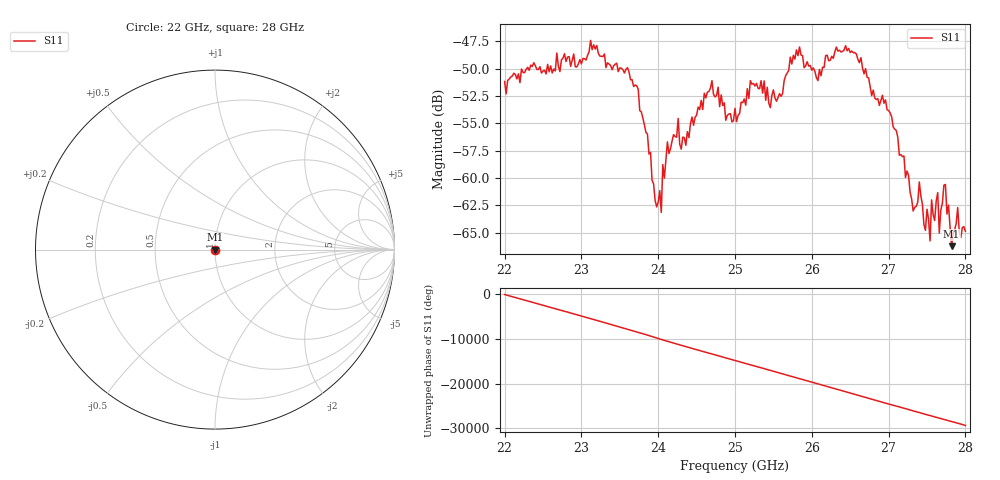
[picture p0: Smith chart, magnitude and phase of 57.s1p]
#  HZ  S  RI  R  50.00
! Rohde & Schwarz ZVA40 4Ports - Version 3.90 - 1145.1110k42 SN: 100403
! Date: 2023-10-04 08:53:51
! Measurement: S12
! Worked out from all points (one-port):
!   301 points, 22 GHz to 28 GHz, reference 50 ohm
!   lowest |S11| = -66.2 dB at 27.82 GHz (marker M1), VSWR 1.00, Z = 50 - j0.046 ohm
!   |S11| at or under -10 dB: start of sweep to end of sweep
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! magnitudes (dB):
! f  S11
! 22 GHz  -51.2
! 22.76 GHz  -49.0
! 23.5 GHz  -49.9
! 23.74 GHz  -51.9
! 24.04 GHz  -63.1
! 24.06 GHz  -58.8
! 24.26 GHz  -54.5
! 24.36 GHz  -57.0
! 24.7 GHz  -51.1
! 25 GHz  -53.6
! 25.2 GHz  -51.1
! 25.46 GHz  -53.6
! 25.76 GHz  -48.8
! 26.08 GHz  -51.1
! 26.5 GHz  -48.5
! 26.96 GHz  -52.8
! 27.26 GHz  -59.8
! 27.32 GHz  -63.0
! 27.4 GHz  -60.4
! 27.54 GHz  -65.7
! 27.56 GHz  -62.0
! 27.6 GHz  -63.9
! 27.64 GHz  -61.3
! 27.66 GHz  -65.0
! 27.74 GHz  -60.6
! 27.82 GHz  -66.2
! 27.9 GHz  -62.7
! 28 GHz  -64.9
